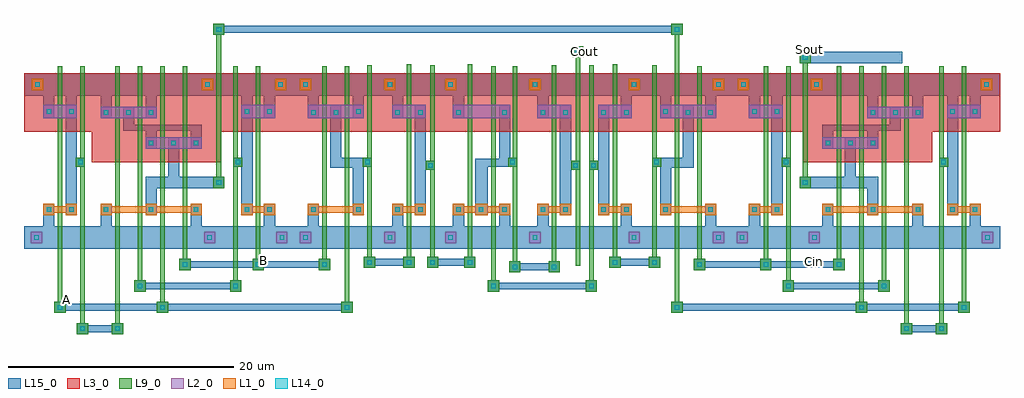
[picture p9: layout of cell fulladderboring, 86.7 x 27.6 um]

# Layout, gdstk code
import gdstk
lib = gdstk.Library(unit=1e-6, precision=1e-09)
def R(c, l, rs):  # rectangles x0, y0, x1, y1
    for r in rs: c.add(gdstk.rectangle(r[:2], r[2:], *l))
def A(c, l, x, y, w, h, nx, ny, dx, dy):  # array of equal rectangles
    R(c, l, [(x+i*dx, y+j*dy, x+i*dx+w, y+j*dy+h) for i in range(nx) for j in range(ny)])
def P(c, l, *ps):  # polygons
    for p in ps: c.add(gdstk.Polygon(p, *l))
L1_0 = (1, 0)
L2_0 = (2, 0)
L3_0 = (3, 0)
L9_0 = (9, 0)
L14_0 = (14, 0)
L15_0 = (15, 0)

fulladderboring = lib.new_cell('fulladderboring')
R(fulladderboring, L1_0, [(-18.5,49.9,-17.5,50.9), (-3.4,49.9,-2.4,50.9), (3.1,49.9,4.1,50.9), (5.3,49.9,6.3,50.9), (12.8,49.9,13.8,50.9), (18.2,49.9,19.2,50.9), (25.7,49.9,26.7,50.9), (34.5,49.9,35.5,50.9), (42,49.9,43,50.9), (44.2,49.9,45.2,50.9), (50.7,49.9,51.7,50.9), (65.8,49.9,66.8,50.9)])
P(fulladderboring, L1_0, [(65.8,39.8),(64.8,39.8),(64.8,39.6),(63.8,39.6),(63.8,39.8),(62.8,39.8),(62.8,38.8),(63.8,38.8),(63.8,39),(64.8,39),(64.8,38.8),(65.8,38.8)],
  [(60.7,38.8),(60.7,39.8),(59.7,39.8),(59.7,39.6),(56.7,39.6),(56.7,39.8),(55.7,39.8),(55.7,39.6),(52.7,39.6),(52.7,39.8),(51.7,39.8),(51.7,38.8),(52.7,38.8),(52.7,39),(55.7,39),(55.7,38.8),(56.7,38.8),(56.7,39),(59.7,39),(59.7,38.8)],
  [(45.2,39.8),(45.2,38.8),(46.2,38.8),(46.2,39),(47.2,39),(47.2,38.8),(48.2,38.8),(48.2,39.8),(47.2,39.8),(47.2,39.6),(46.2,39.6),(46.2,39.8)],
  [(42.3,39.8),(41.3,39.8),(41.3,39.6),(38.3,39.6),(38.3,39.8),(37.3,39.8),(37.3,38.8),(38.3,38.8),(38.3,39),(41.3,39),(41.3,38.8),(42.3,38.8)],
  [(34.8,39.8),(33.8,39.8),(33.8,39.6),(32.8,39.6),(32.8,39.8),(31.8,39.8),(31.8,38.8),(32.8,38.8),(32.8,39),(33.8,39),(33.8,38.8),(34.8,38.8)],
  [(26.4,39.8),(26.4,38.8),(27.4,38.8),(27.4,39),(28.4,39),(28.4,38.8),(29.4,38.8),(29.4,39.8),(28.4,39.8),(28.4,39.6),(27.4,39.6),(27.4,39.8)],
  [(20.9,39.6),(19.9,39.6),(19.9,39.8),(18.9,39.8),(18.9,38.8),(19.9,38.8),(19.9,39),(20.9,39),(20.9,38.8),(22,38.8),(22,39),(23,39),(23,38.8),(24,38.8),(24,39.8),(23,39.8),(23,39.6),(22,39.6),(22,39.8),(20.9,39.8)],
  [(-17.5,39.8),(-17.5,38.8),(-16.5,38.8),(-16.5,39),(-15.5,39),(-15.5,38.8),(-14.5,38.8),(-14.5,39.8),(-15.5,39.8),(-15.5,39.6),(-16.5,39.6),(-16.5,39.8)],
  [(-12.4,38.8),(-11.4,38.8),(-11.4,39),(-8.4,39),(-8.4,38.8),(-7.4,38.8),(-7.4,39),(-4.4,39),(-4.4,38.8),(-3.4,38.8),(-3.4,39.8),(-4.4,39.8),(-4.4,39.6),(-7.4,39.6),(-7.4,39.8),(-8.4,39.8),(-8.4,39.6),(-11.4,39.6),(-11.4,39.8),(-12.4,39.8)],
  [(3.1,39.8),(2.1,39.8),(2.1,39.6),(1.1,39.6),(1.1,39.8),(0.1,39.8),(0.1,38.8),(1.1,38.8),(1.1,39),(2.1,39),(2.1,38.8),(3.1,38.8)],
  [(6,39.8),(6,38.8),(7,38.8),(7,39),(10,39),(10,38.8),(11,38.8),(11,39.8),(10,39.8),(10,39.6),(7,39.6),(7,39.8)],
  [(13.5,39.8),(13.5,38.8),(14.5,38.8),(14.5,39),(15.5,39),(15.5,38.8),(16.5,38.8),(16.5,39.8),(15.5,39.8),(15.5,39.6),(14.5,39.6),(14.5,39.8)])
R(fulladderboring, L2_0, [(-18.6,36.3,-17.6,37.3), (-3.2,36.3,-2.2,37.3), (3.2,36.3,4.2,37.3), (5.3,36.3,6.3,37.3), (12.8,36.3,13.8,37.3), (18.2,36.3,19.2,37.3), (25.7,36.3,26.7,37.3), (34.5,36.3,35.5,37.3), (42,36.3,43,37.3), (44.1,36.3,45.1,37.3), (50.5,36.3,51.5,37.3), (65.9,36.3,66.9,37.3), (-8.4,44.7,-3.4,45.7), (51.7,44.7,56.7,45.7), (-17.5,47.4,-14.5,48.6), (-12.4,47.4,-7.4,48.4), (0.1,47.4,3.1,48.6), (6,47.4,11,48.6), (13.5,47.4,16.5,48.6), (18.9,47.4,24,48.6), (26.4,47.4,29.4,48.6), (31.8,47.4,34.8,48.6), (37.3,47.4,42.3,48.6), (45.2,47.4,48.2,48.6), (55.7,47.4,60.7,48.4), (62.8,47.4,65.8,48.6)])
R(fulladderboring, L3_0, [(-13.2,43.5,-1.7,51.4), (50,43.5,61.5,51.4), (-19.2,46.2,-13.2,51.4), (-1.7,46.2,4.8,51.4), (4.8,46.2,12.3,51.4), (12.3,46.2,17.7,51.4), (17.7,46.2,25.2,51.4), (25.2,46.2,30.6,51.4), (30.6,46.2,36,51.4), (36,46.2,43.5,51.4), (43.5,46.2,50,51.4), (61.5,46.2,67.5,51.4)])
P(fulladderboring, L9_0, [(57.7,32),(57.7,33),(57.4,33),(57.4,52),(57,52),(57,33),(56.7,33),(56.7,32)],
  [(63.8,30.1),(64.8,30.1),(64.8,31.1),(64.5,31.1),(64.5,52),(64.1,52),(64.1,31.1),(63.8,31.1)],
  [(61.8,28.2),(62.8,28.2),(62.8,29.2),(62.5,29.2),(62.5,43.1),(62.9,43.1),(62.9,43.9),(62.5,43.9),(62.5,52),(62.1,52),(62.1,29.2),(61.8,29.2)],
  [(59.7,28.2),(59.7,29.2),(59.4,29.2),(59.4,52),(59,52),(59,29.2),(58.7,29.2),(58.7,28.2)],
  [(54.7,30.1),(55.7,30.1),(55.7,31.1),(55.4,31.1),(55.4,52),(55,52),(55,31.1),(54.7,31.1)],
  [(53.7,33.9),(53.7,34.9),(53.4,34.9),(53.4,52),(53,52),(53,34.9),(52.7,34.9),(52.7,33.9)],
  [(50,52.3),(50,42.2),(49.7,42.2),(49.7,41.2),(50.7,41.2),(50.7,42.2),(50.4,42.2),(50.4,52.3),(50.7,52.3),(50.7,53.3),(49.7,53.3),(49.7,52.3)],
  [(47.2,33.9),(47.2,34.9),(46.9,34.9),(46.9,52),(46.5,52),(46.5,34.9),(46.2,34.9),(46.2,33.9)],
  [(49.2,32),(49.2,33),(48.9,33),(48.9,52),(48.5,52),(48.5,43.9),(48.1,43.9),(48.1,43.1),(48.5,43.1),(48.5,33),(48.2,33),(48.2,32)],
  [(41.3,33.9),(41.3,34.9),(41,34.9),(41,52),(40.6,52),(40.6,34.9),(40.3,34.9),(40.3,33.9)],
  [(37.3,34.1),(37.3,35.1),(37,35.1),(37,43.1),(37.4,43.1),(37.4,43.9),(37,43.9),(37,52.1),(36.6,52.1),(36.6,35.1),(36.3,35.1),(36.3,34.1)],
  [(28.4,33.7),(28.4,34.7),(28.1,34.7),(28.1,52.1),(27.7,52.1),(27.7,34.7),(27.4,34.7),(27.4,33.7)],
  [(24.9,33.7),(24.9,34.7),(24.6,34.7),(24.6,52),(24.2,52),(24.2,43.9),(23.8,43.9),(23.8,43.1),(24.2,43.1),(24.2,34.7),(23.9,34.7),(23.9,33.7)],
  [(-9.4,32),(-8.4,32),(-8.4,33),(-8.7,33),(-8.7,52),(-9.1,52),(-9.1,33),(-9.4,33)],
  [(-15.5,30.1),(-15.5,31.1),(-15.8,31.1),(-15.8,52),(-16.2,52),(-16.2,31.1),(-16.5,31.1),(-16.5,30.1)],
  [(-13.5,28.2),(-13.5,29.2),(-13.8,29.2),(-13.8,52),(-14.2,52),(-14.2,43.9),(-14.6,43.9),(-14.6,43.1),(-14.2,43.1),(-14.2,29.2),(-14.5,29.2),(-14.5,28.2)],
  [(-11.4,28.2),(-10.4,28.2),(-10.4,29.2),(-10.7,29.2),(-10.7,52),(-11.1,52),(-11.1,29.2),(-11.4,29.2)],
  [(-6.4,30.1),(-6.4,31.1),(-6.7,31.1),(-6.7,52),(-7.1,52),(-7.1,31.1),(-7.4,31.1),(-7.4,30.1)],
  [(-5.4,33.9),(-4.4,33.9),(-4.4,34.9),(-4.7,34.9),(-4.7,52),(-5.1,52),(-5.1,34.9),(-5.4,34.9)],
  [(1.1,33.9),(2.1,33.9),(2.1,34.9),(1.8,34.9),(1.8,52),(1.4,52),(1.4,34.9),(1.1,34.9)],
  [(-0.9,32),(0.1,32),(0.1,33),(-0.2,33),(-0.2,43.1),(0.2,43.1),(0.2,43.9),(-0.2,43.9),(-0.2,52),(-0.6,52),(-0.6,33),(-0.9,33)],
  [(7,33.9),(8,33.9),(8,34.9),(7.7,34.9),(7.7,52),(7.3,52),(7.3,34.9),(7,34.9)],
  [(14.5,34.1),(15.5,34.1),(15.5,35.1),(15.2,35.1),(15.2,52.2),(14.8,52.2),(14.8,35.1),(14.5,35.1)],
  [(16.6,34.1),(17.6,34.1),(17.6,35.1),(17.3,35.1),(17.3,52.1),(16.9,52.1),(16.9,43.6),(16.5,43.6),(16.5,42.8),(16.9,42.8),(16.9,35.1),(16.6,35.1)],
  [(11,34.1),(12,34.1),(12,35.1),(11.7,35.1),(11.7,52.1),(11.3,52.1),(11.3,43.9),(10.9,43.9),(10.9,43.1),(11.3,43.1),(11.3,35.1),(11,35.1)],
  [(10,30.1),(10,31.1),(9.7,31.1),(9.7,52),(9.3,52),(9.3,31.1),(9,31.1),(9,30.1)],
  [(19.9,34.1),(20.9,34.1),(20.9,35.1),(20.6,35.1),(20.6,52.2),(20.2,52.2),(20.2,35.1),(19.9,35.1)],
  [(22,32),(23,32),(23,33),(22.7,33),(22.7,52),(22.3,52),(22.3,33),(22,33)],
  [(33.8,34.1),(33.8,35.1),(33.5,35.1),(33.5,52.2),(33.1,52.2),(33.1,35.1),(32.8,35.1),(32.8,34.1)],
  [(31.7,32),(31.7,33),(31.4,33),(31.4,42.8),(31.8,42.8),(31.8,43.6),(31.4,43.6),(31.4,52.1),(31,52.1),(31,33),(30.7,33),(30.7,32)],
  [(-1.7,54.8),(-1.4,54.8),(-1.4,55.8),(-2.4,55.8),(-2.4,54.8),(-2.1,54.8),(-2.1,42.2),(-2.4,42.2),(-2.4,41.2),(-1.4,41.2),(-1.4,42.2),(-1.7,42.2)],
  [(30.2,52.8),(30.5,52.8),(30.5,53.8),(29.5,53.8),(29.5,52.8),(29.8,52.8),(29.8,43.6),(29.4,43.6),(29.4,42.8),(29.8,42.8),(29.8,34.3),(30.2,34.3)],
  [(38.3,55.8),(38.3,54.8),(38.6,54.8),(38.6,31.1),(38.3,31.1),(38.3,30.1),(39.3,30.1),(39.3,31.1),(39,31.1),(39,54.8),(39.3,54.8),(39.3,55.8)])
A(fulladderboring, L14_0, -12.1, 39.1, 0.4, 0.4, 3, 1, 4, 0)
A(fulladderboring, L14_0, 52, 39.1, 0.4, 0.4, 3, 1, 4, 0)
A(fulladderboring, L14_0, -8.1, 45, 0.4, 0.4, 3, 1, 2, 0)
A(fulladderboring, L14_0, 52, 45, 0.4, 0.4, 3, 1, 2, 0)
A(fulladderboring, L14_0, -12.1, 47.7, 0.4, 0.4, 3, 1, 2, 0)
A(fulladderboring, L14_0, 56, 47.7, 0.4, 0.4, 3, 1, 2, 0)
R(fulladderboring, L14_0, [(-14.2,28.5,-13.8,28.9), (-11.1,28.5,-10.7,28.9), (59,28.5,59.4,28.9), (62.1,28.5,62.5,28.9), (-16.2,30.4,-15.8,30.8), (-7.1,30.4,-6.7,30.8), (9.3,30.4,9.7,30.8), (38.6,30.4,39,30.8), (55,30.4,55.4,30.8), (64.1,30.4,64.5,30.8), (-9.1,32.3,-8.7,32.7), (-0.6,32.3,-0.2,32.7), (22.3,32.3,22.7,32.7), (31,32.3,31.4,32.7), (48.5,32.3,48.9,32.7), (57,32.3,57.4,32.7), (24.2,34,24.6,34.4), (27.7,34,28.1,34.4), (-5.1,34.2,-4.7,34.6), (1.4,34.2,1.8,34.6), (7.3,34.2,7.7,34.6), (40.6,34.2,41,34.6), (46.5,34.2,46.9,34.6), (53,34.2,53.4,34.6), (11.3,34.4,11.7,34.8), (14.8,34.4,15.2,34.8), (16.9,34.4,17.3,34.8), (20.2,34.4,20.6,34.8), (33.1,34.4,33.5,34.8), (36.6,34.4,37,34.8), (-18.3,36.6,-17.9,37), (-2.9,36.6,-2.5,37), (3.5,36.6,3.9,37), (5.6,36.6,6,37), (13.1,36.6,13.5,37), (18.5,36.6,18.9,37), (26,36.6,26.4,37), (34.8,36.6,35.2,37), (42.3,36.6,42.7,37), (44.4,36.6,44.8,37), (50.8,36.6,51.2,37), (66.2,36.6,66.6,37), (-17.2,39.1,-16.8,39.5), (-15.2,39.1,-14.8,39.5), (0.4,39.1,0.8,39.5), (2.4,39.1,2.8,39.5), (6.3,39.1,6.7,39.5), (10.3,39.1,10.7,39.5), (13.8,39.1,14.2,39.5), (15.8,39.1,16.2,39.5), (19.2,39.1,19.6,39.5), (21.2,39.1,21.6,39.5), (23.3,39.1,23.7,39.5), (26.7,39.1,27.1,39.5), (28.7,39.1,29.1,39.5), (32.1,39.1,32.5,39.5), (34.1,39.1,34.5,39.5), (37.6,39.1,38,39.5), (41.6,39.1,42,39.5), (45.5,39.1,45.9,39.5), (47.5,39.1,47.9,39.5), (63.1,39.1,63.5,39.5), (65.1,39.1,65.5,39.5), (-2.1,41.5,-1.7,41.9), (50,41.5,50.4,41.9), (16.7,43,17.1,43.4), (29.6,43,30,43.4), (31.2,43,31.6,43.4), (-14.4,43.3,-14,43.7), (-0.4,43.3,0,43.7), (11.1,43.3,11.5,43.7), (24,43.3,24.4,43.7), (36.8,43.3,37.2,43.7), (48.3,43.3,48.7,43.7), (62.3,43.3,62.7,43.7), (6.3,47.7,6.7,48.1), (8.3,47.7,8.7,48.1), (13.8,47.7,14.2,48.1), (15.8,47.7,16.2,48.1), (19.2,47.7,19.6,48.1), (23.3,47.7,23.7,48.1), (26.7,47.7,27.1,48.1), (28.7,47.7,29.1,48.1), (32.1,47.7,32.5,48.1), (34.1,47.7,34.5,48.1), (39.6,47.7,40,48.1), (41.6,47.7,42,48.1), (-17.2,47.8,-16.8,48.2), (-15.2,47.8,-14.8,48.2), (0.4,47.8,0.8,48.2), (2.4,47.8,2.8,48.2), (10.3,47.8,10.7,48.2), (37.6,47.8,38,48.2), (45.5,47.8,45.9,48.2), (47.5,47.8,47.9,48.2), (63.1,47.8,63.5,48.2), (65.1,47.8,65.5,48.2), (-18.2,50.2,-17.8,50.6), (-3.1,50.2,-2.7,50.6), (3.4,50.2,3.8,50.6), (5.6,50.2,6,50.6), (13.1,50.2,13.5,50.6), (18.5,50.2,18.9,50.6), (26,50.2,26.4,50.6), (34.8,50.2,35.2,50.6), (42.3,50.2,42.7,50.6), (44.5,50.2,44.9,50.6), (51,50.2,51.4,50.6), (66.1,50.2,66.5,50.6), (50,52.6,50.4,53), (29.8,53.1,30.2,53.5), (-2.1,55.1,-1.7,55.5), (38.6,55.1,39,55.5)])
R(fulladderboring, L15_0, [(-14.5,28.2,-13.5,29.2), (-11.4,28.2,-10.4,29.2), (58.7,28.2,59.7,29.2), (61.8,28.2,62.8,29.2), (-13.5,28.4,-11.4,29), (59.7,28.4,61.8,29), (-16.5,30.1,-15.5,31.1), (-7.4,30.1,-6.4,31.1), (9,30.1,10,31.1), (38.3,30.1,39.3,31.1), (54.7,30.1,55.7,31.1), (63.8,30.1,64.8,31.1), (-15.5,30.3,-7.4,30.9), (-6.4,30.3,9,30.9), (39.3,30.3,54.7,30.9), (55.7,30.3,63.8,30.9), (-9.4,32,-8.4,33), (-0.9,32,0.1,33), (22,32,23,33), (30.7,32,31.7,33), (48.2,32,49.2,33), (56.7,32,57.7,33), (-8.4,32.2,-0.9,32.8), (23,32.2,30.7,32.8), (49.2,32.2,56.7,32.8), (23.9,33.7,24.9,34.7), (27.4,33.7,28.4,34.7), (-5.4,33.9,-4.4,34.9), (1.1,33.9,2.1,34.9), (7,33.9,8,34.9), (24.9,33.9,27.4,34.5), (40.3,33.9,41.3,34.9), (46.2,33.9,47.2,34.9), (52.7,33.9,53.7,34.9), (-4.4,34.1,1.1,34.7), (2.1,34.1,7,34.7), (11,34.1,12,35.1), (14.5,34.1,15.5,35.1), (16.6,34.1,17.6,35.1), (19.9,34.1,20.9,35.1), (32.8,34.1,33.8,35.1), (36.3,34.1,37.3,35.1), (41.3,34.1,46.2,34.7), (47.2,34.1,52.7,34.7), (12,34.3,14.5,34.9), (17.6,34.3,19.9,34.9), (33.8,34.3,36.3,34.9), (49.7,52.3,58.8,53.3), (29.5,52.8,30.5,53.8), (-2.4,54.8,-1.4,55.8), (38.3,54.8,39.3,55.8), (-1.4,55,38.3,55.6)])
P(fulladderboring, L15_0, [(62.8,49.4),(62.8,47.4),(63.8,47.4),(63.8,49.4),(64.8,49.4),(64.8,47.4),(65.8,47.4),(65.8,49.4),(67.5,49.4),(67.5,51.4),(61.5,51.4),(61.5,49.4)],
  [(64.8,37.8),(61.5,37.8),(61.5,35.8),(67.5,35.8),(67.5,37.8),(65.8,37.8),(65.8,39.8),(64.8,39.8)],
  [(62.1,43.9),(62.1,43.1),(62.8,43.1),(62.8,38.8),(63.8,38.8),(63.8,48.6),(62.8,48.6),(62.8,43.9)],
  [(56.7,38.8),(56.7,42.2),(54.7,42.2),(54.7,45.7),(53.7,45.7),(53.7,42.2),(49.7,42.2),(49.7,41.2),(55.7,41.2),(55.7,38.8)],
  [(52.7,37.8),(52.7,39.8),(51.7,39.8),(51.7,37.8),(50,37.8),(50,35.8),(61.5,35.8),(61.5,37.8),(60.7,37.8),(60.7,39.8),(59.7,39.8),(59.7,37.8)],
  [(48.9,43.9),(48.2,43.9),(48.2,48.6),(47.2,48.6),(47.2,38.8),(48.2,38.8),(48.2,43.1),(48.9,43.1)],
  [(46.2,37.8),(46.2,39.8),(45.2,39.8),(45.2,37.8),(43.5,37.8),(43.5,35.8),(50,35.8),(50,37.8)],
  [(48.2,49.4),(50,49.4),(50,51.4),(43.5,51.4),(43.5,49.4),(45.2,49.4),(45.2,47.4),(46.2,47.4),(46.2,49.4),(47.2,49.4),(47.2,47.4),(48.2,47.4)],
  [(57.7,48.4),(57.7,46.8),(51.7,46.8),(51.7,44.7),(52.7,44.7),(52.7,46.3),(55.7,46.3),(55.7,44.7),(56.7,44.7),(56.7,46.3),(58.7,46.3),(58.7,48.4)],
  [(41.3,37.8),(36,37.8),(36,35.8),(43.5,35.8),(43.5,37.8),(42.3,37.8),(42.3,39.8),(41.3,39.8)],
  [(37.3,49.4),(37.3,47.4),(38.3,47.4),(38.3,49.4),(41.3,49.4),(41.3,47.4),(42.3,47.4),(42.3,49.4),(43.5,49.4),(43.5,51.4),(36,51.4),(36,49.4)],
  [(36.6,43.9),(36.6,43.1),(37.3,43.1),(37.3,38.8),(38.3,38.8),(38.3,43),(40.3,43),(40.3,48.6),(39.3,48.6),(39.3,43.9)],
  [(33.8,49.4),(33.8,47.4),(34.8,47.4),(34.8,49.4),(36,49.4),(36,51.4),(30.6,51.4),(30.6,49.4)],
  [(33.8,37.8),(30.6,37.8),(30.6,35.8),(36,35.8),(36,37.8),(34.8,37.8),(34.8,39.8),(33.8,39.8)],
  [(31.8,43.6),(31,43.6),(31,42.8),(31.8,42.8),(31.8,38.8),(32.8,38.8),(32.8,48.6),(31.8,48.6)],
  [(60.7,49.4),(61.5,49.4),(61.5,51.4),(50,51.4),(50,49.4),(55.7,49.4),(55.7,47.4),(56.7,47.4),(56.7,49.4),(59.7,49.4),(59.7,47.4),(60.7,47.4)],
  [(27.4,49.4),(30.6,49.4),(30.6,51.4),(25.2,51.4),(25.2,49.4),(26.4,49.4),(26.4,47.4),(27.4,47.4)],
  [(27.4,37.8),(27.4,39.8),(26.4,39.8),(26.4,37.8),(25.2,37.8),(25.2,35.8),(30.6,35.8),(30.6,37.8)],
  [(29.4,43.6),(29.4,48.6),(28.4,48.6),(28.4,38.8),(29.4,38.8),(29.4,42.8),(30.2,42.8),(30.2,43.6)],
  [(23,37.8),(19.9,37.8),(19.9,39.8),(18.9,39.8),(18.9,37.8),(17.7,37.8),(17.7,35.8),(25.2,35.8),(25.2,37.8),(24,37.8),(24,39.8),(23,39.8)],
  [(25.2,49.4),(25.2,51.4),(17.7,51.4),(17.7,49.4),(18.9,49.4),(18.9,47.4),(19.9,47.4),(19.9,49.4)],
  [(24.6,43.9),(24,43.9),(24,48.6),(23,48.6),(23,43.8),(20.9,43.8),(20.9,38.8),(22,38.8),(22,43.1),(24.6,43.1)],
  [(-14.5,49.4),(-13.2,49.4),(-13.2,51.4),(-19.2,51.4),(-19.2,49.4),(-17.5,49.4),(-17.5,47.4),(-16.5,47.4),(-16.5,49.4),(-15.5,49.4),(-15.5,47.4),(-14.5,47.4)],
  [(-16.5,37.8),(-16.5,39.8),(-17.5,39.8),(-17.5,37.8),(-19.2,37.8),(-19.2,35.8),(-13.2,35.8),(-13.2,37.8)],
  [(-13.8,43.9),(-14.5,43.9),(-14.5,48.6),(-15.5,48.6),(-15.5,38.8),(-14.5,38.8),(-14.5,43.1),(-13.8,43.1)],
  [(-8.4,38.8),(-7.4,38.8),(-7.4,41.2),(-1.4,41.2),(-1.4,42.2),(-5.4,42.2),(-5.4,45.7),(-6.4,45.7),(-6.4,42.2),(-8.4,42.2)],
  [(-4.4,37.8),(-11.4,37.8),(-11.4,39.8),(-12.4,39.8),(-12.4,37.8),(-13.2,37.8),(-13.2,35.8),(-1.7,35.8),(-1.7,37.8),(-3.4,37.8),(-3.4,39.8),(-4.4,39.8)],
  [(-0.6,43.9),(-0.6,43.1),(0.1,43.1),(0.1,38.8),(1.1,38.8),(1.1,48.6),(0.1,48.6),(0.1,43.9)],
  [(2.1,37.8),(-1.7,37.8),(-1.7,35.8),(4.8,35.8),(4.8,37.8),(3.1,37.8),(3.1,39.8),(2.1,39.8)],
  [(0.1,49.4),(0.1,47.4),(1.1,47.4),(1.1,49.4),(2.1,49.4),(2.1,47.4),(3.1,47.4),(3.1,49.4),(4.8,49.4),(4.8,51.4),(-1.7,51.4),(-1.7,49.4)],
  [(-9.4,48.4),(-10.4,48.4),(-10.4,46.3),(-8.4,46.3),(-8.4,44.7),(-7.4,44.7),(-7.4,46.3),(-4.4,46.3),(-4.4,44.7),(-3.4,44.7),(-3.4,46.8),(-9.4,46.8)],
  [(7,37.8),(7,39.8),(6,39.8),(6,37.8),(4.8,37.8),(4.8,35.8),(12.3,35.8),(12.3,37.8)],
  [(11,49.4),(12.3,49.4),(12.3,51.4),(4.8,51.4),(4.8,49.4),(6,49.4),(6,47.4),(7,47.4),(7,49.4),(10,49.4),(10,47.4),(11,47.4)],
  [(11.7,43.9),(9,43.9),(9,48.6),(8,48.6),(8,43),(10,43),(10,38.8),(11,38.8),(11,43.1),(11.7,43.1)],
  [(14.5,49.4),(17.7,49.4),(17.7,51.4),(12.3,51.4),(12.3,49.4),(13.5,49.4),(13.5,47.4),(14.5,47.4)],
  [(14.5,37.8),(14.5,39.8),(13.5,39.8),(13.5,37.8),(12.3,37.8),(12.3,35.8),(17.7,35.8),(17.7,37.8)],
  [(16.5,43.6),(16.5,48.6),(15.5,48.6),(15.5,38.8),(16.5,38.8),(16.5,42.8),(17.3,42.8),(17.3,43.6)],
  [(-12.4,49.4),(-12.4,47.4),(-11.4,47.4),(-11.4,49.4),(-8.4,49.4),(-8.4,47.4),(-7.4,47.4),(-7.4,49.4),(-1.7,49.4),(-1.7,51.4),(-13.2,51.4),(-13.2,49.4)])
fulladderboring.add(gdstk.Label('A', (-15.4,31.3), layer=1, texttype=0))
fulladderboring.add(gdstk.Label('B', (2.1,34.8), layer=1, texttype=0))
fulladderboring.add(gdstk.Label('Cin', (51,34.7), layer=1, texttype=0))
fulladderboring.add(gdstk.Label('Cout', (30.6,53.3), layer=1, texttype=0))
fulladderboring.add(gdstk.Label('Sout', (50.6,53.5), layer=1, texttype=0))

lib.write_gds('fulladderboring.gds')
